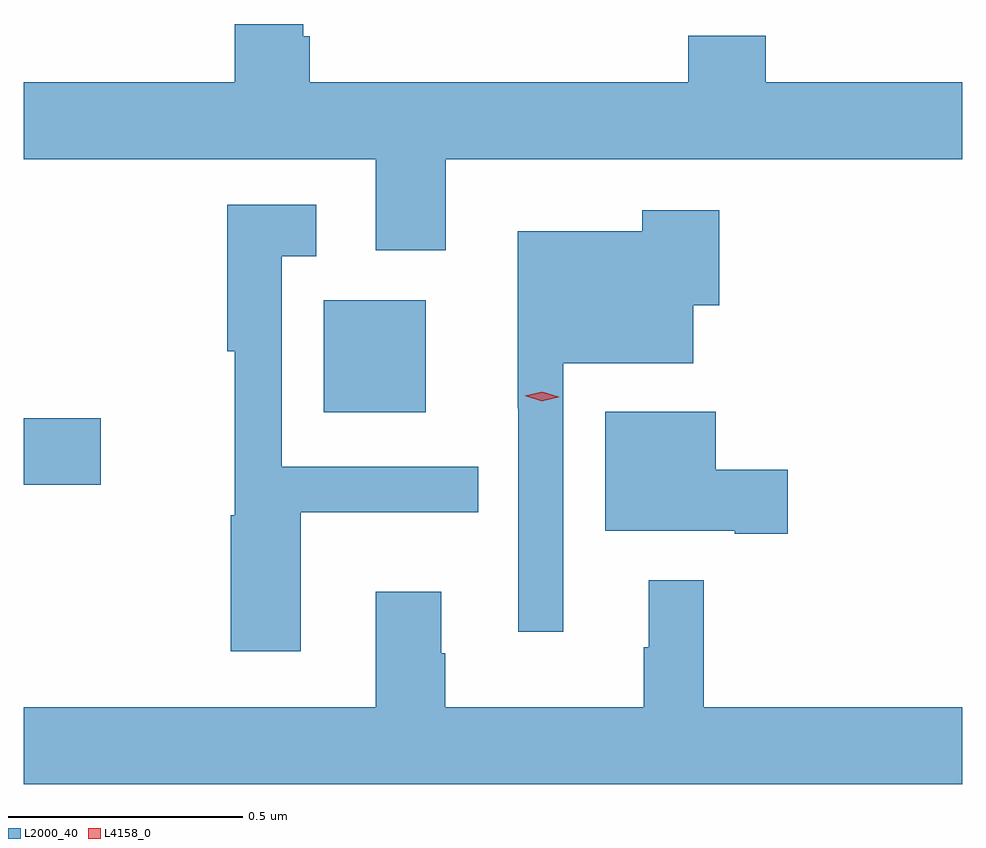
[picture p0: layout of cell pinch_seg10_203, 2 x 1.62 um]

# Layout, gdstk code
import gdstk
lib = gdstk.Library(unit=1e-6, precision=1e-09)
def R(c, l, rs):  # rectangles x0, y0, x1, y1
    for r in rs: c.add(gdstk.rectangle(r[:2], r[2:], *l))
def P(c, l, *ps):  # polygons
    for p in ps: c.add(gdstk.Polygon(p, *l))
L2000_40 = (2000, 40)
L4158_0 = (4158, 0)

pinch_seg10_203 = lib.new_cell('pinch_seg10_203')
R(pinch_seg10_203, L2000_40, [(856.211,1275.646,856.375,1275.788), (856.85,1275.8,857.068,1276.039)])
P(pinch_seg10_203, L2000_40, [(857.11,1276.34),(858.211,1276.34),(858.211,1276.504),(857.792,1276.504),(857.792,1276.603),(857.627,1276.603),(857.627,1276.504),(856.82,1276.504),(856.82,1276.602),(856.807,1276.602),(856.807,1276.628),(856.66,1276.628),(856.66,1276.504),(856.211,1276.504),(856.211,1276.34),(856.961,1276.34),(856.961,1276.146),(857.11,1276.146)],
  [(856.801,1275.587),(857.18,1275.587),(857.18,1275.684),(856.761,1275.684),(856.761,1276.133),(856.834,1276.133),(856.834,1276.243),(856.645,1276.243),(856.645,1275.93),(856.66,1275.93),(856.66,1275.581),(856.652,1275.581),(856.652,1275.291),(856.801,1275.291)],
  [(857.361,1275.905),(857.638,1275.905),(857.638,1276.028),(857.693,1276.028),(857.693,1276.231),(857.529,1276.231),(857.529,1276.186),(857.264,1276.186),(857.264,1275.809),(857.265,1275.809),(857.265,1275.333),(857.361,1275.333)],
  [(857.839,1275.678),(857.686,1275.678),(857.686,1275.802),(857.45,1275.802),(857.45,1275.548),(857.726,1275.548),(857.726,1275.541),(857.839,1275.541)],
  [(858.211,1275.172),(857.66,1275.172),(857.66,1275.442),(857.543,1275.442),(857.543,1275.299),(857.532,1275.299),(857.532,1275.172),(857.109,1275.172),(857.109,1275.287),(857.101,1275.287),(857.101,1275.418),(856.961,1275.418),(856.961,1275.172),(856.211,1275.172),(856.211,1275.008),(858.211,1275.008)])
P(pinch_seg10_203, L4158_0, [(857.315,1275.824),(857.279,1275.836),(857.279,1275.836),(857.279,1275.836),(857.316,1275.844),(857.351,1275.833),(857.351,1275.833),(857.351,1275.832)])

lib.write_gds('pinch_seg10_203.gds')
